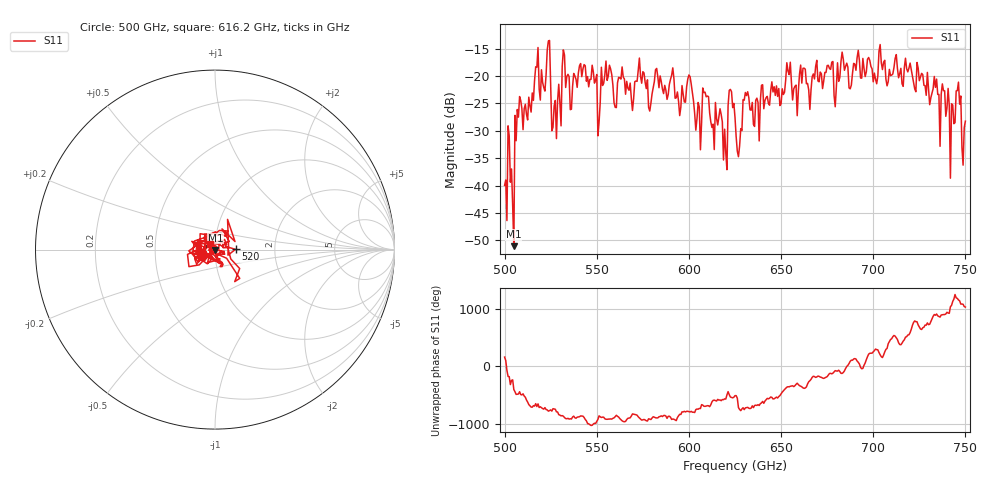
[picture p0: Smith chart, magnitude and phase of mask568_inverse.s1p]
!Created with skrf (http://scikit-rf.org).
# GHz S MA R 50.0
!freq magS11 angS11
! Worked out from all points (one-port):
!   401 points, 500 GHz to 750 GHz, reference 50 ohm
!   lowest |S11| = -51.1 dB at 505 GHz (marker M1), VSWR 1.01, Z = 50.2 - j0.192 ohm
!   |S11| at or under -10 dB: start of sweep to end of sweep
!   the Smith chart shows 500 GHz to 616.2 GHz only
!   S11 on the Smith chart (normalised r, x): 500 GHz: 0.98, +0.01; 520 GHz: 1.26, +0.00; 616.2 GHz: 0.94, +0.06
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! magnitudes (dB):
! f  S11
! 500 GHz  -39.9
! 505 GHz  -51.1
! 508.1 GHz  -23.7
! 520 GHz  -18.8
! 523.8 GHz  -13.6
! 526.9 GHz  -25.5
! 531.2 GHz  -18.2
! 548.8 GHz  -21.3
! 550.6 GHz  -30.9
! 553.8 GHz  -21.3
! 562.5 GHz  -20.3
! 593.8 GHz  -22.9
! 600 GHz  -19.8
! 605 GHz  -24.8
! 608.8 GHz  -22.9
! 612.5 GHz  -29.4
! 616.2 GHz  -27.4
! 619.4 GHz  -29.7
! 622.5 GHz  -22.4
! 625 GHz  -27.5
! 626.9 GHz  -34.7
! 630.6 GHz  -23.0
! 656.2 GHz  -24.4
! 687.5 GHz  -22.3
! 718.8 GHz  -19.2
! 743.1 GHz  -25.3
! 746.2 GHz  -21.1
! 750 GHz  -28.2
